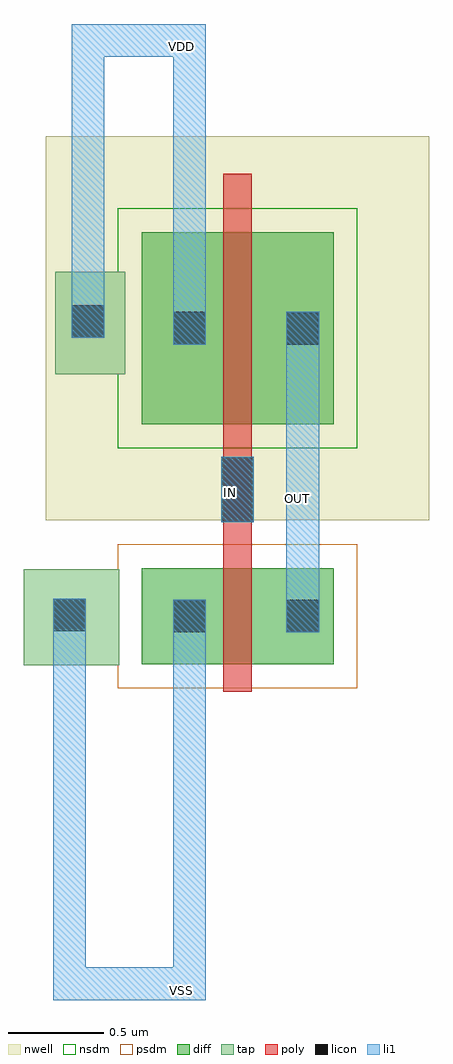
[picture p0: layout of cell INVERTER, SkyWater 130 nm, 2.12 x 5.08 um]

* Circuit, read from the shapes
.subckt INVERTER IN OUT VDD VSS
XM1 OUT IN VSS VSS sky130_fd_pr__nfet_01v8 w=0.5 l=0.15
XM2 OUT IN VDD VDD sky130_fd_pr__pfet_01v8 w=1 l=0.15
.ends

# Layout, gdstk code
import gdstk
lib = gdstk.Library(unit=1e-6, precision=1e-09)
def R(c, l, rs):  # rectangles x0, y0, x1, y1
    for r in rs: c.add(gdstk.rectangle(r[:2], r[2:], *l))
nwell = (64, 20)
diff = (65, 20)
tap = (65, 44)
poly = (66, 20)
licon = (66, 44)
li1 = (67, 20)
nsdm = (93, 44)
psdm = (94, 20)

inverter = lib.new_cell('INVERTER')
R(inverter, nwell, [(-1,0.5,1,2.5)])
R(inverter, diff, [(-0.5,-0.25,0.5,0.25), (-0.5,1,0.5,2)])
R(inverter, tap, [(-1.115,-0.255,-0.615,0.245), (-0.95,1.26,-0.585,1.795)])
R(inverter, poly, [(-0.075,-0.395,0.075,2.305)])
R(inverter, licon, [(-0.335,-0.085,-0.165,0.085), (0.255,-0.085,0.425,0.085), (-0.96,-0.08,-0.79,0.09), (-0.085,0.49,0.085,0.83), (-0.335,1.415,-0.165,1.585), (0.255,1.415,0.425,1.585), (-0.865,1.45,-0.695,1.62)])
R(inverter, li1, [(-0.335,-2,-0.165,0.085), (-0.335,-0.085,-0.165,0.085), (0.255,-0.085,0.425,0.085), (0.255,-0.085,0.425,1.585), (-0.96,-0.08,-0.79,0.09), (-0.085,0.49,0.085,0.83), (-0.335,1.415,-0.165,1.585), (-0.335,1.415,-0.165,3), (0.255,1.415,0.425,1.585), (-0.865,1.45,-0.695,1.62), (-0.865,1.45,-0.695,1.62)])
R(inverter, nsdm, [(-0.625,0.875,0.625,2.125), (-0.95,1.26,-0.585,1.795)])
R(inverter, psdm, [(-0.625,-0.375,0.625,0.375), (-1.115,-0.255,-0.615,0.245)])
inverter.add(gdstk.FlexPath([(-0.875,0.09),(-0.875,-2),(-0.875,-2)], 0.17, ends="flush", simple_path=True, layer=67, datatype=20))  # li1
inverter.add(gdstk.FlexPath([(-0.96,-1.915),(-0.165,-1.915),(-0.165,-1.915)], 0.17, ends="flush", simple_path=True, layer=67, datatype=20))  # li1
inverter.add(gdstk.FlexPath([(-0.78,1.45),(-0.78,3),(-0.165,3),(-0.165,3)], 0.17, ends="flush", simple_path=True, layer=67, datatype=20))  # li1
inverter.add(gdstk.Label('VDD', (-0.29,2.97), layer=67, texttype=16))
inverter.add(gdstk.Label('VSS', (-0.29,-1.95), layer=67, texttype=5))
inverter.add(gdstk.Label('IN', (-0.035,0.645), layer=67, texttype=5))
inverter.add(gdstk.Label('OUT', (0.315,0.615), layer=67, texttype=5))

lib.write_gds('INVERTER.gds')
